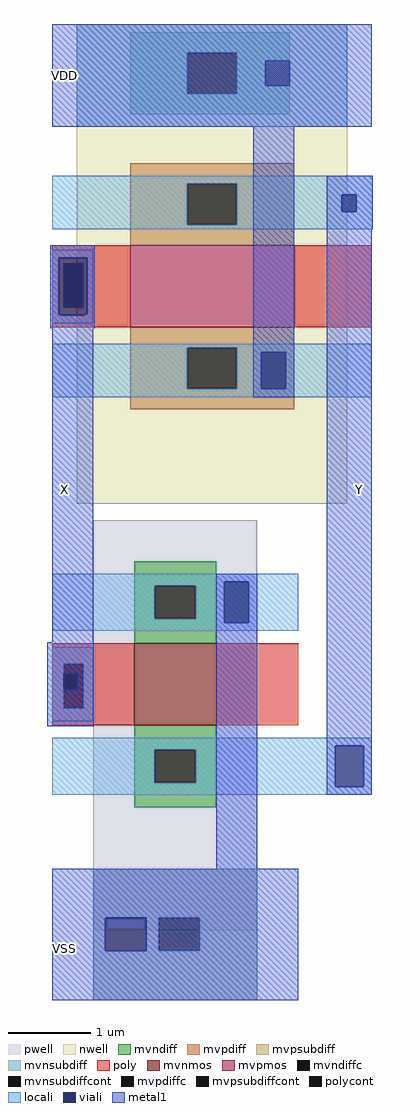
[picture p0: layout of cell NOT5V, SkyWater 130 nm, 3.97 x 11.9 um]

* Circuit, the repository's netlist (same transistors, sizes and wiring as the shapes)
** sch_path: /home/ee431/workspace/6SAR_CDAC/NOT5V.sch
.subckt NOT5V X Y VSS VDD
*.PININFO X:I Y:O VSS:B VDD:B
XM1 Y X VSS VSS sky130_fd_pr__nfet_g5v0d10v5 L=1 W=1 nf=1 m=1
XM2 Y X VDD VDD sky130_fd_pr__pfet_g5v0d10v5 L=1 W=2 nf=1 m=1
.ends
.end

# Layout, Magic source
magic
tech sky130A
<< poly >>
rect 8 898 43 905
rect 8 844 14 898
rect 38 844 43 898
rect 8 836 43 844
<< polycont >>
rect 14 844 38 898
rect 14 356 38 410
<< locali >>
rect 335 982 391 1005
rect 335 961 353 982
rect 371 961 391 982
rect 335 940 391 961
rect 0 905 50 915
rect 0 836 8 905
rect 43 836 50 905
rect 0 835 10 836
rect 40 835 50 836
rect 0 825 50 835
rect 0 410 50 430
rect 0 356 14 410
rect 38 356 50 410
rect 0 340 50 356
rect 280 310 390 320
rect 280 260 345 310
rect 380 260 390 310
rect 280 250 390 260
<< viali >>
rect 353 961 371 982
rect 8 898 43 905
rect 8 844 14 898
rect 14 844 38 898
rect 38 844 43 898
rect 8 836 43 844
rect 10 835 40 836
rect 255 745 285 790
rect 210 460 240 510
rect 14 378 31 398
rect 345 260 380 310
<< metal1 >>
rect 0 1065 30 1190
rect -2 905 52 920
rect -2 836 8 905
rect 43 836 52 905
rect -2 835 10 836
rect 40 835 52 836
rect -2 819 52 835
rect 0 436 50 819
rect 245 790 295 1190
rect 245 745 255 790
rect 285 745 295 790
rect 245 735 295 745
rect 335 982 391 1005
rect 335 961 353 982
rect 371 961 391 982
rect 335 940 391 961
rect 200 510 250 520
rect 200 460 210 510
rect 240 460 250 510
rect -6 398 51 436
rect -6 378 14 398
rect 31 378 51 398
rect -6 334 51 378
rect 0 0 50 160
rect 200 0 250 460
rect 335 310 390 940
rect 335 260 345 310
rect 380 260 390 310
rect 335 250 390 260
use 5v_nfet_1_1  5v_nfet_1_1_0
transform 0 1 100 -1 0 435
box -150 -100 435 200
use 5v_pfet_1_2  5v_pfet_1_2_0
transform 0 -1 295 1 0 820
box -215 -95 400 295
<< labels >>
rlabel metal1 0 560 30 685 7 X
port 1 w
rlabel metal1 360 560 390 685 3 Y
port 2 e
rlabel metal1 0 1065 30 1190 7 VDD
port 3 w
rlabel metal1 0 0 30 125 7 VSS
port 4 w
<< end >>

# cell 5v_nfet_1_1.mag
magic
tech sky130A
<< pwell >>
rect -150 -50 350 150
<< mvnmos >>
rect 0 0 100 100
<< mvndiff >>
rect -100 75 0 100
rect -100 25 -70 75
rect -30 25 0 75
rect -100 0 0 25
rect 100 75 200 100
rect 100 25 130 75
rect 170 25 200 75
rect 100 0 200 25
<< mvndiffc >>
rect -70 25 -30 75
rect 130 25 170 75
<< mvpsubdiff >>
rect 275 80 435 150
rect 275 30 335 80
rect 375 30 435 80
rect 275 -50 435 30
<< mvpsubdiffcont >>
rect 335 30 375 80
<< poly >>
rect 0 100 100 200
rect 0 -100 100 0
<< locali >>
rect -85 75 -15 200
rect -85 25 -70 75
rect -30 25 -15 75
rect -85 -100 -15 25
rect 115 75 185 200
rect 115 25 130 75
rect 170 25 185 75
rect 115 -100 185 25
rect 275 80 435 150
rect 275 30 335 80
rect 375 30 435 80
rect 275 15 435 30
rect 275 -35 335 15
rect 375 -35 435 15
rect 275 -50 435 -35
<< viali >>
rect 335 -35 375 15
<< metal1 >>
rect 275 15 435 200
rect 275 -35 335 15
rect 375 -35 435 15
rect 275 -100 435 -35
<< labels >>
rlabel locali -50 195 -50 195 5 S
port 1 s
rlabel poly 50 195 50 195 5 G
port 3 s
rlabel locali 150 195 150 195 5 D
port 4 s
rlabel metal1 360 195 360 195 5 B
port 2 s
<< end >>

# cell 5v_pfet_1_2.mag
magic
tech sky130A
<< nwell >>
rect -215 -65 370 265
<< mvpmos >>
rect 0 0 100 200
<< mvpdiff >>
rect -100 130 0 200
rect -100 70 -75 130
rect -25 70 0 130
rect -100 0 0 70
rect 100 130 200 200
rect 100 70 125 130
rect 175 70 200 130
rect 100 0 200 70
<< mvpdiffc >>
rect -75 70 -25 130
rect 125 70 175 130
<< mvnsubdiff >>
rect 260 130 360 200
rect 260 70 285 130
rect 335 70 360 130
rect 260 5 360 70
<< mvnsubdiffcont >>
rect 285 70 335 130
<< poly >>
rect 0 200 100 295
rect 0 -95 100 0
<< locali >>
rect -85 130 -20 295
rect -85 70 -75 130
rect -25 70 -20 130
rect -85 -95 -20 70
rect 120 130 185 295
rect 120 70 125 130
rect 175 70 185 130
rect 120 -95 185 70
rect 245 130 370 265
rect 245 70 285 130
rect 335 70 370 130
rect 245 35 370 70
rect 245 5 295 35
rect 325 5 370 35
rect 245 -65 370 5
<< viali >>
rect 295 5 325 35
<< metal1 >>
rect 245 35 370 295
rect 245 5 295 35
rect 325 5 370 35
rect 245 -95 370 5
<< labels >>
rlabel locali -55 260 -55 260 5 S
port 4 s
rlabel poly 55 260 55 260 5 G
port 3 s
rlabel locali 155 260 155 260 5 D
port 2 s
rlabel metal1 320 260 320 260 5 B
port 1 s
<< end >>
